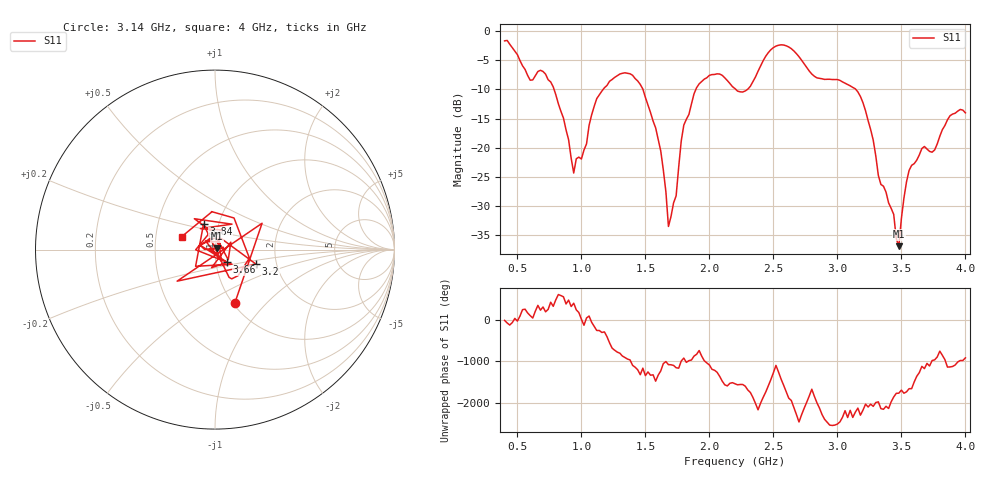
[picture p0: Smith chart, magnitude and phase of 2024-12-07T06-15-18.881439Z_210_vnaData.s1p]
!Created with skrf (http://scikit-rf.org).
# Hz S RI R 50.0
!freq ReS11 ImS11
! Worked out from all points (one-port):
!   181 points, 400 MHz to 4 GHz, reference 50 ohm
!   lowest |S11| = -36.9 dB at 3.48 GHz (marker M1), VSWR 1.03, Z = 51.3 + j0.706 ohm
!   |S11| at or under -10 dB: 786.2 MHz to 1.17 GHz (384.1 MHz wide, 39.3 % of centre); 1.481 GHz to 1.895 GHz (413.8 MHz wide, 24.5 % of centre); 3.143 GHz to end of sweep (the widest 3 of 4)
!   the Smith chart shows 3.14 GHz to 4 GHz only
!   S11 on the Smith chart (normalised r, x): 3.14 GHz: 1.02, -0.68; 3.2 GHz: 1.56, -0.27; 3.66 GHz: 1.13, -0.16; 3.84 GHz: 0.85, +0.25; 4 GHz: 0.68, +0.10
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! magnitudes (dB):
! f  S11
! 400 MHz  -1.7
! 600 MHz  -8.4
! 720 MHz  -7.4
! 860 MHz  -14.9
! 940 MHz  -24.3
! 1.12 GHz  -11.6
! 1.3 GHz  -7.4
! 1.46 GHz  -9.2
! 1.58 GHz  -16.6
! 1.64 GHz  -23.8
! 1.68 GHz  -33.5
! 1.74 GHz  -28.3
! 1.76 GHz  -23.3
! 1.8 GHz  -16.1
! 1.92 GHz  -9.1
! 2.2 GHz  -9.9
! 2.3 GHz  -10.0
! 2.5 GHz  -2.8
! 2.66 GHz  -3.4
! 3.1 GHz  -9.4
! 3.14 GHz  -9.9
! 3.2 GHz  -12.3
! 3.48 GHz  -36.9
! 3.56 GHz  -23.9
! 3.66 GHz  -20.1
! 3.76 GHz  -20.4
! 3.84 GHz  -16.2
! 4 GHz  -14.0
